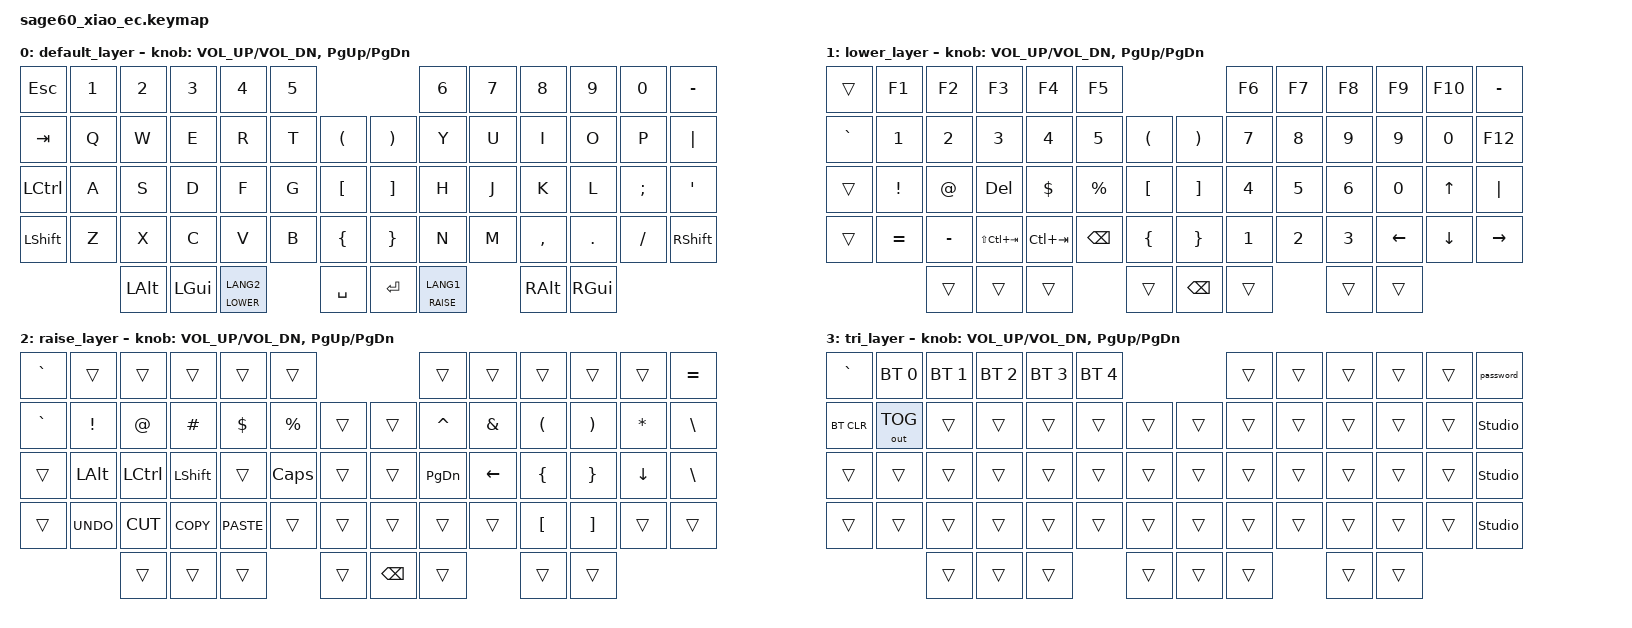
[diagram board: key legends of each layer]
/*
 * Copyright (c) 2020 The ZMK Contributors
 *
 * SPDX-License-Identifier: MIT
 */

#include <behaviors.dtsi>
#include <dt-bindings/zmk/keys.h>
#include <dt-bindings/zmk/outputs.h>
#include <dt-bindings/zmk/bt.h>

#define DEFAULT 0
#define LOWER   1
#define RAISE   2

&mt {
    tapping-term-ms = <500>;
};

/ {
    macros {
        password: password {
            label = "password";
            compatible = "zmk,behavior-macro";
            #binding-cells = <0>;
            wait-ms = <10>;
            tap-ms = <10>;
            bindings
                = <&macro_press &kp LSHFT>
                , <&macro_tap &kp A>
                , <&macro_release &kp LSHFT>
                ;
        };
    };
};



/ {

    conditional_layers {
        compatible = "zmk,conditional-layers";
        tri_layer {
            if-layers = <1 2>;
            then-layer = <3>;
        };
    };

    keymap {
        compatible = "zmk,keymap";

        default_layer {
// |-------------------------------------|              |-------------------------------------|
// |  `    |  1  |  2  |  3  |  4  |  5  |-----|  |-----|  6  |  7  |  8  |  9  |  0  |       |
// |  ESC  |  Q  |  W  |  E  |  R  |  T  |  [  |  |  ]  |  Y  |  U  |  I  |  O  |  P  | BKSPC |
// |  TAB  |  A  |  S  |  D  |  F  |  G  |  {  |  |  }  |  H  |  J  |  K  |  L  |  ;  |   '   |
// | SHIFT |  Z  |  X  |  C  |  V  |  B  |  (  |  |  )  |  N  |  M  |  ,  |  .  |  /  | SHIFT |
// |-------------------| GUI | ALT |LOWER|SPACE|  |ENTER|RAISE| ALT | GUI |-------------------|
//                     |--------------------------------------------------|
            bindings = <
&kp ESC   &kp N1 &kp N2   &kp N3   &kp N4    &kp N5                      &kp N6 &kp N7    &kp N8    &kp N9   &kp N0   &kp MINUS
&kp TAB   &kp Q  &kp W    &kp E    &kp R     &kp T   &kp LPAR   &kp RPAR  &kp Y  &kp U     &kp I     &kp O    &kp P    &kp PIPE
&kp LCTRL &kp A  &kp S    &kp D    &kp F     &kp G   &kp LBKT   &kp RBKT  &kp H  &kp J     &kp K     &kp L    &kp SEMI &kp SQT
&kp LSHFT &kp Z  &kp X    &kp C    &kp V     &kp B   &kp LBRC   &kp RBRC  &kp N  &kp M     &kp COMMA &kp DOT  &kp FSLH &kp RSHFT
                 &kp LALT &kp LGUI &lt LOWER LANG2   &kp SPACE  &kp ENTER &lt RAISE LANG1  &kp RALT  &kp RGUI
            >;

            sensor-bindings = <&inc_dec_kp C_VOL_UP C_VOL_DN &inc_dec_kp PG_UP PG_DN>;
        };

        lower_layer {
// ---------------------------------------              ---------------------------------------
// |  `    |  1  |  2  |  3  |  4  |  5  |              |  6  |  7  |  8  |  9  |  0  |       |
// |  ESC  |  Q  |  W  |  E  |  R  |  T  |  [  |  |  ]  |  Y  |  U  |  I  |  O  |  P  | BKSPC |
// |  TAB  |  A  |  S  |  D  |  F  |  G  |  {  |  |  }  |  H  |  J  |  K  |  L  |  ;  |   '   |
// | SHIFT |  Z  |  X  |  C  |  V  |  B  |  (  |  |  )  |  N  |  M  |  ,  |  .  |  /  | SHIFT |
//                     | GUI | ALT |LOWER|SPACE|  |ENTER|RAISE| ALT | GUI |
//                     ----------------------------------------------------
            bindings = <
&trans    &kp F1    &kp F2    &kp F3      &kp F4    &kp F5                               &kp F6  &kp F7  &kp F8  &kp F9    &kp F10   &kp MINUS
&kp GRAVE &kp N1    &kp N2    &kp N3      &kp N4    &kp N5    &kp LPAR         &kp RPAR  &kp N7  &kp N8  &kp N9  &kp N9    &kp N0    &kp F12
&trans    &kp EXCL  &kp AT    &kp DEL     &kp DLLR  &kp PRCNT &kp LBKT         &kp RBKT  &kp N4  &kp N5  &kp N6  &kp N0    &kp UP    &kp PIPE
&trans    &kp EQUAL &kp MINUS &kp LS(LC(TAB)) &kp LC(TAB) &kp BSPC &kp LBRC    &kp RBRC  &kp N1  &kp N2  &kp N3  &kp LEFT  &kp DOWN  &kp RIGHT
                    &trans        &trans         &trans       &trans           &kp BSPC       &trans         &trans   &trans   
            >;
            sensor-bindings = <&inc_dec_kp C_VOL_UP C_VOL_DN &inc_dec_kp PG_UP PG_DN>;
        };

        raise_layer {
// ---------------------------------------              ---------------------------------------
// | GRAVE |     |     |     |     |     |              |     |     |     |     |     | EQAUL |
// |  ESC  |  Q  |  W  |  E  |  R  |  T  |  [  |  |  ]  |  Y  |  U  |  I  |  O  |  P  | BKSPC |
// |  TAB  |  A  |  S  |  D  |  F  |  G  |  {  |  |  }  |  H  |  J  |  K  |  L  |  ;  |   '   |
// | SHIFT |  Z  |  X  |  C  |  V  |  B  |  (  |  |  )  |  N  |  M  |  ,  |  .  |  /  | SHIFT |
//                     | GUI | ALT |LOWER|SPACE|  |ENTER|RAISE| ALT | GUI |
//                     ----------------------------------------------------
            bindings = <
&kp GRAVE  &trans      &trans    &trans     &trans      &trans                     &trans    &trans    &trans    &trans    &trans    &kp EQUAL
&kp GRAVE  &kp EXCL    &kp AT    &kp HASH   &kp DLLR    &kp PRCNT &trans   &trans  &kp CARET &kp AMPS  &kp LPAR  &kp RPAR  &kp ASTRK &kp BSLH
&trans     &kp LALT    &kp LCTRL &kp LSHFT  &trans      &kp CLCK  &trans   &trans  &kp PG_DN &kp LEFT  &kp LBRC  &kp RBRC  &kp DOWN  &kp BSLH
&trans     &kp K_UNDO  &kp K_CUT &kp K_COPY &kp K_PASTE &trans    &trans   &trans  &trans    &trans    &kp LBKT  &kp RBKT  &trans    &trans
                       &trans          &trans         &trans      &trans   &kp BSPC       &trans         &trans   &trans   
            >;

            sensor-bindings = <&inc_dec_kp C_VOL_UP C_VOL_DN &inc_dec_kp PG_UP PG_DN>;
        };

        tri_layer {
// ---------------------------------------              ---------------------------------------
// | GRAVE | BT0 | BT1 | BT2 | BT3 | BT4 |              |     |     |     |     |     | PASSWORD |
// | BTCLR | OTG |     |     |     |     |     |  |     |     |     |     |     |     |  STUDIO  |
// |       |     |     |     |     |     |     |  |     |     |     |     |     |     |          |
// |       |     |     |     |     |     |     |  |     |     |     |     |     |     |          |
//                     |     |     |     |     |  |     |     |     |     |
//                     ----------------------------------------------------
            bindings = <
&kp GRAVE  &bt BT_SEL 0  &bt BT_SEL 1  &bt BT_SEL 2 &bt BT_SEL 3 &bt BT_SEL 4                     &trans  &trans  &trans  &trans  &trans  &password
&bt BT_CLR &out OUT_TOG  &trans        &trans       &trans       &trans        &trans    &trans   &trans  &trans  &trans  &trans  &trans  &studio_unlock
&trans     &trans        &trans        &trans       &trans       &trans        &trans    &trans   &trans  &trans  &trans  &trans  &trans  &studio_unlock
&trans     &trans        &trans        &trans       &trans       &trans        &trans    &trans   &trans  &trans  &trans  &trans  &trans  &studio_unlock
                         &trans        &trans       &trans       &trans                  &trans   &trans  &trans  &trans   
            >;

            sensor-bindings = <&inc_dec_kp C_VOL_UP C_VOL_DN &inc_dec_kp PG_UP PG_DN>;
        };
    };
};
